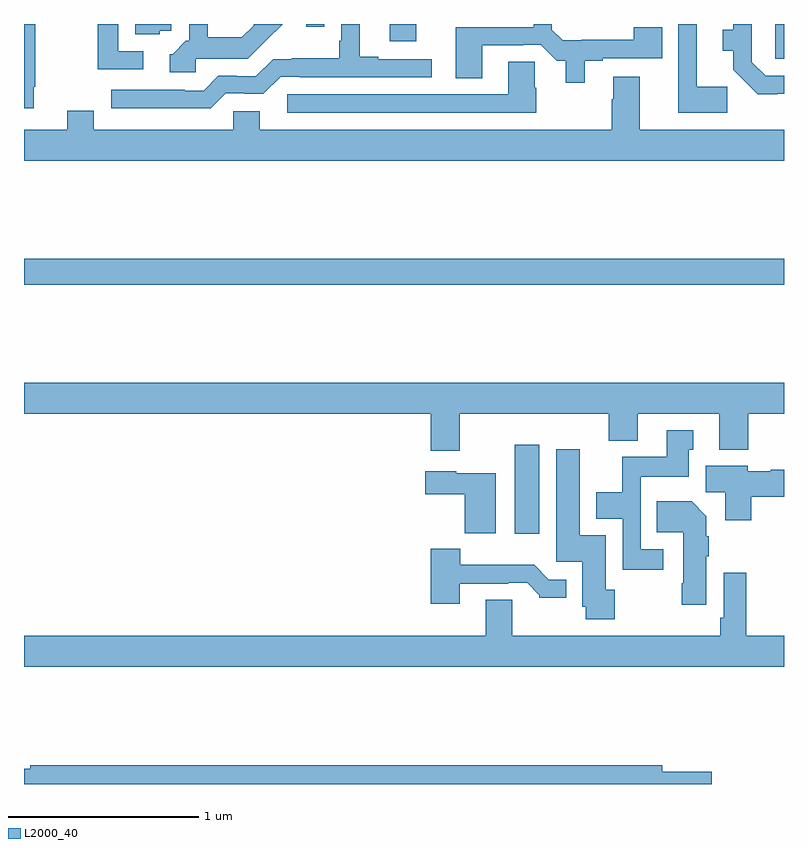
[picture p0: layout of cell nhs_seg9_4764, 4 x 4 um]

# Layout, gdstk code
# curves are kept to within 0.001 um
import gdstk
lib = gdstk.Library(unit=1e-6, precision=1e-09)
def R(c, l, rs):  # rectangles x0, y0, x1, y1
    for r in rs: c.add(gdstk.rectangle(r[:2], r[2:], *l))
def P(c, l, *ps):  # polygons
    for p in ps: c.add(gdstk.Polygon(p, *l))
L2000_40 = (2000, 40)

nhs_seg9_4764 = lib.new_cell('nhs_seg9_4764')
R(nhs_seg9_4764, L2000_40, [(389.582,1167.816,389.713,1168.285), (387,1169.128,391,1169.264), (390.954,1170.318,391,1170.5), (388.925,1170.408,389.065,1170.5), (388.485,1170.486,388.581,1170.5)])
P(nhs_seg9_4764, L2000_40, [(390.702,1170.171),(390.541,1170.171),(390.541,1170.5),(390.444,1170.5),(390.444,1170.032),(390.702,1170.032)],
  [(387.903,1170.318),(388.177,1170.318),(388.361,1170.5),(388.209,1170.5),(388.209,1170.49),(388.147,1170.429),(387.968,1170.429),(387.968,1170.5),(387.87,1170.5),(387.87,1170.411),(387.852,1170.411),(387.783,1170.342),(387.767,1170.342),(387.767,1170.246),(387.903,1170.246)],
  [(387.714,1170.465),(387.774,1170.465),(387.774,1170.5),(387.585,1170.5),(387.585,1170.446),(387.714,1170.446)],
  [(389.95,1170.306),(390.046,1170.306),(390.046,1170.321),(390.359,1170.321),(390.359,1170.482),(390.208,1170.482),(390.208,1170.417),(389.935,1170.417),(389.935,1170.414),(389.835,1170.414),(389.778,1170.471),(389.778,1170.5),(389.682,1170.5),(389.682,1170.483),(389.273,1170.483),(389.273,1170.214),(389.413,1170.214),(389.413,1170.387),(389.627,1170.387),(389.627,1170.39),(389.721,1170.39),(389.805,1170.306),(389.852,1170.306),(389.852,1170.192),(389.95,1170.192)],
  [(387.052,1170.169),(387.06,1170.169),(387.06,1170.5),(387,1170.5),(387,1170.057),(387.052,1170.057)],
  [(390.964,1170.132),(391,1170.132),(391,1170.228),(390.903,1170.228),(390.831,1170.3),(390.831,1170.5),(390.734,1170.5),(390.734,1170.469),(390.677,1170.469),(390.677,1170.359),(390.734,1170.359),(390.734,1170.26),(390.863,1170.131)],
  [(388.062,1170.135),(388.163,1170.135),(388.163,1170.132),(388.26,1170.132),(388.35,1170.222),(388.45,1170.222),(388.45,1170.219),(389.146,1170.219),(389.146,1170.315),(388.864,1170.315),(388.864,1170.328),(388.768,1170.328),(388.768,1170.5),(388.671,1170.5),(388.671,1170.412),(388.659,1170.412),(388.659,1170.319),(388.408,1170.319),(388.408,1170.315),(388.311,1170.315),(388.221,1170.225),(388.121,1170.225),(388.121,1170.228),(388.023,1170.228),(387.945,1170.15),(387.845,1170.15),(387.845,1170.153),(387.459,1170.153),(387.459,1170.057),(387.983,1170.056)],
  [(387.628,1170.357),(387.495,1170.357),(387.495,1170.5),(387.387,1170.5),(387.387,1170.261),(387.628,1170.261)],
  [(389.697,1170.165),(389.687,1170.165),(389.687,1170.302),(389.549,1170.302),(389.549,1170.129),(388.386,1170.129),(388.386,1170.033),(389.697,1170.033)],
  [(391,1169.944),(390.241,1169.944),(390.241,1170.223),(390.101,1170.223),(390.101,1170.104),(390.094,1170.104),(390.094,1169.944),(388.24,1169.944),(388.24,1170.042),(388.101,1170.042),(388.101,1169.944),(387.367,1169.944),(387.367,1170.043),(387.227,1170.043),(387.227,1169.944),(387,1169.944),(387,1169.78),(391,1169.78)],
  [(389.293,1168.448),(390.077,1168.448),(390.077,1168.307),(390.229,1168.307),(390.229,1168.448),(390.659,1168.448),(390.659,1168.259),(390.812,1168.259),(390.812,1168.448),(391,1168.448),(391,1168.612),(387,1168.612),(387,1168.448),(389.141,1168.448),(389.141,1168.254),(389.293,1168.254)],
  [(390.364,1167.735),(390.246,1167.735),(390.246,1168.118),(390.499,1168.118),(390.499,1168.26),(390.523,1168.26),(390.523,1168.363),(390.383,1168.363),(390.383,1168.222),(390.148,1168.222),(390.148,1168.036),(390.011,1168.036),(390.011,1167.896),(390.15,1167.896),(390.15,1167.627),(390.364,1167.627)],
  [(390.108,1167.522),(390.061,1167.522),(390.061,1167.808),(389.926,1167.808),(389.926,1168.261),(389.801,1168.261),(389.801,1167.669),(389.939,1167.669),(389.939,1167.432),(389.956,1167.432),(389.956,1167.366),(390.108,1167.366)],
  [(390.827,1168.013),(391,1168.013),(391,1168.155),(390.93,1168.155),(390.93,1168.147),(390.81,1168.147),(390.81,1168.174),(390.587,1168.174),(390.587,1168.036),(390.692,1168.036),(390.692,1167.888),(390.827,1167.888)],
  [(389.482,1168.135),(389.274,1168.135),(389.274,1168.147),(389.112,1168.147),(389.112,1168.025),(389.32,1168.025),(389.32,1167.821),(389.482,1167.821)],
  [(390.592,1167.7),(390.605,1167.7),(390.605,1167.803),(390.592,1167.803),(390.592,1167.91),(390.514,1167.988),(390.331,1167.988),(390.331,1167.824),(390.47,1167.824),(390.47,1167.556),(390.463,1167.556),(390.463,1167.444),(390.592,1167.444)],
  [(389.293,1167.555),(389.549,1167.555),(389.549,1167.558),(389.648,1167.558),(389.712,1167.494),(389.712,1167.479),(389.854,1167.479),(389.854,1167.576),(389.763,1167.576),(389.685,1167.655),(389.296,1167.655),(389.296,1167.739),(389.141,1167.739),(389.141,1167.45),(389.293,1167.45)],
  [(391,1167.28),(390.8,1167.28),(390.8,1167.613),(390.684,1167.613),(390.684,1167.376),(390.664,1167.376),(390.664,1167.28),(389.569,1167.28),(389.569,1167.47),(389.429,1167.47),(389.429,1167.28),(387,1167.28),(387,1167.116),(391,1167.116)],
  [(390.619,1166.564),(390.358,1166.564),(390.358,1166.6),(387.034,1166.6),(387.034,1166.58),(387,1166.58),(387,1166.5),(390.619,1166.5)])

lib.write_gds('nhs_seg9_4764.gds')
